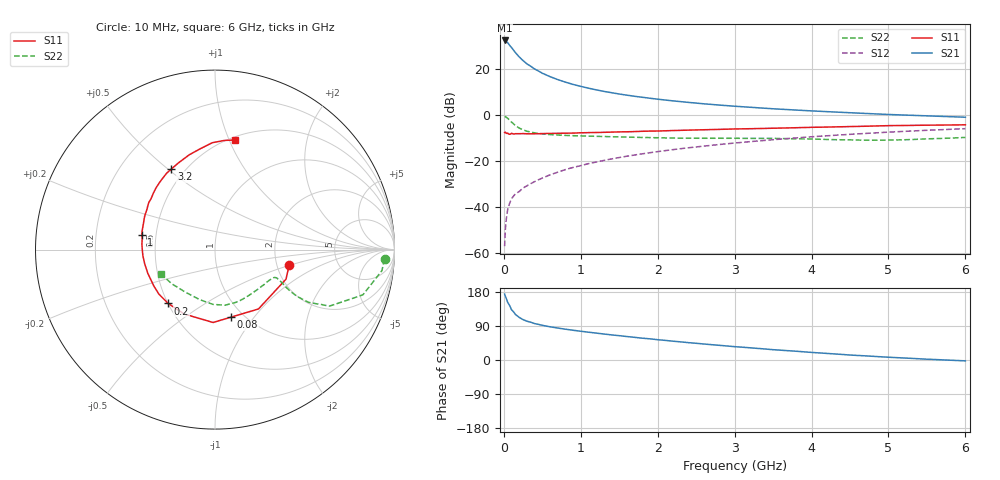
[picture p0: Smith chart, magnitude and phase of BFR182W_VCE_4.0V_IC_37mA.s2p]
! Infineon Technologies  Discrete & RF Semiconductors
! BFR182W
! VCE =  4.0 V,  IC =  37 mA
! Common Emitter S-Parameters:  Jan 2017
# GHz  S  MA  R  50
!  f  S11  S21  S12  S22
! GHz  MAG  ANG  MAG  ANG  MAG  ANG  MAG  ANG
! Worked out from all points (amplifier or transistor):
!   77 points, 10 MHz to 6 GHz, reference 50 ohm
!   highest |S21| = 32.7 dB at 10 MHz (marker M1)
!   |S21| within 3 dB of that: start of sweep to 97.01 MHz
!   unconditionally stable (mu >= 1): 466.4 MHz to 2.267 GHz
!   at 130 MHz: K = 0.56, MSG = 31.7 dB, |S12| = -35.0 dB
!   at 2.2 GHz: K = 1.01, MAG = 10.1 dB, |S12| = -15.0 dB
!   at 6 GHz: K = 0.88, MSG = 2.5 dB, |S12| = -5.8 dB
!   S11 on the Smith chart (normalised r, x): 10 MHz: 2.35, -0.48; 80 MHz: 0.88, -0.78; 200 MHz: 0.50, -0.36; 1 GHz: 0.42, +0.08; 3.2 GHz: 0.42, +0.51; 6 GHz: 0.53, +1.05
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0.01  0.4224 -11.4  42.99 173.8  0.0014 85.8  0.9465 -3.2
0.02  0.4285 -22.6  42.79 168.2  0.0033 85.2  0.9371 -7.2
0.05  0.41 -53.8  38.48 152.1  0.0088 71.6  0.8617 -17.0
0.08  0.3867 -76.5  32.93 141.6  0.0126 68.1  0.7695 -22.1
0.1  0.4062 -91.5  30.04 132.6  0.0152 66.8  0.7121 -26.2
0.15  0.3976 -115.5  23.41 120.4  0.0193 63.5  0.5986 -29.4
0.2  0.3977 -131.0  18.81 112.4  0.0218 63.5  0.5275 -29.7
0.25  0.3991 -141.7  15.63 106.5  0.026 65.1  0.4821 -29.0
0.3  0.3964 -149.6  13.29 102.4  0.029 65.8  0.45 -28.0
0.4  0.397 -160.5  10.25 96.1  0.0358 68.9  0.4139 -26.2
0.5  0.3996 -168.6  8.298 91.5  0.0428 70.0  0.3938 -25.3
0.6  0.4032 -174.9  6.987 87.6  0.0503 71.7  0.3806 -24.7
0.7  0.405 -179.7  6.024 84.4  0.0575 73.5  0.3722 -24.8
1  0.4159 168.4  4.281 75.9  0.08 74.0  0.3555 -26.7
1.1  0.4195 165.1  3.912 73.4  0.0884 73.9  0.3527 -27.9
1.5  0.4351 153.7  2.918 64.2  0.1201 73.0  0.338 -33.6
2.1  0.4601 139.5  2.156 51.7  0.1701 69.8  0.3218 -46.0
3.1  0.5073 120.2  1.54 33.8  0.2576 62.1  0.3149 -70.4
3.2  0.5107 118.4  1.501 32.2  0.2666 61.2  0.3141 -72.8
4.1  0.5512 103.6  1.227 18.7  0.3493 52.6  0.301 -95.0
5.1  0.5982 90.1  1.03 6.3  0.438 41.8  0.2904 -128.2
6  0.6211 79.6  0.909 -2.3  0.5114 31.7  0.3297 -155.5
